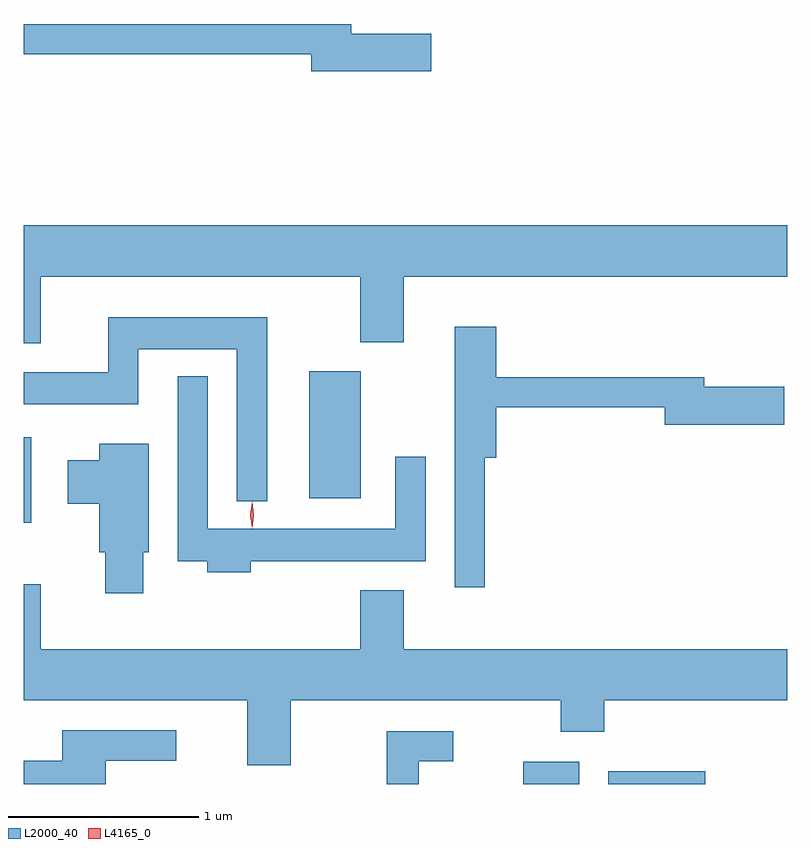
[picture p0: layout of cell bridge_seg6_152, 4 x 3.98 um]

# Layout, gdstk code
import gdstk
lib = gdstk.Library(unit=1e-6, precision=1e-09)
def R(c, l, rs):  # rectangles x0, y0, x1, y1
    for r in rs: c.add(gdstk.rectangle(r[:2], r[2:], *l))
def P(c, l, *ps):  # polygons
    for p in ps: c.add(gdstk.Polygon(p, *l))
L2000_40 = (2000, 40)
L4165_0 = (4165, 0)

bridge_seg6_152 = lib.new_cell('bridge_seg6_152')
R(bridge_seg6_152, L2000_40, [(1138.416,1565.138,1138.709,1565.254), (1138.861,1565.138,1139.368,1565.204), (1135.799,1566.506,1135.839,1566.954), (1137.296,1566.636,1137.564,1567.299)])
P(bridge_seg6_152, L2000_40, [(1137.934,1569.069),(1137.514,1569.069),(1137.514,1569.119),(1135.799,1569.119),(1135.799,1568.961),(1137.306,1568.961),(1137.306,1568.871),(1137.934,1568.871)],
  [(1135.889,1567.796),(1137.561,1567.796),(1137.561,1567.451),(1137.789,1567.451),(1137.789,1567.796),(1139.799,1567.796),(1139.799,1568.064),(1135.799,1568.064),(1135.799,1567.446),(1135.889,1567.446)],
  [(1137.074,1567.584),(1136.241,1567.584),(1136.241,1567.294),(1135.799,1567.294),(1135.799,1567.126),(1136.399,1567.126),(1136.399,1567.416),(1136.916,1567.416),(1136.916,1566.618),(1137.074,1566.618)],
  [(1138.214,1566.846),(1138.274,1566.846),(1138.274,1567.111),(1139.156,1567.111),(1139.156,1567.021),(1139.784,1567.021),(1139.784,1567.219),(1139.364,1567.219),(1139.364,1567.269),(1138.274,1567.269),(1138.274,1567.534),(1138.056,1567.534),(1138.056,1566.168),(1138.214,1566.168)],
  [(1136.989,1566.306),(1137.904,1566.306),(1137.904,1566.853),(1137.746,1566.853),(1137.746,1566.474),(1136.764,1566.474),(1136.764,1567.273),(1136.606,1567.273),(1136.606,1566.306),(1136.761,1566.306),(1136.761,1566.246),(1136.989,1566.246)],
  [(1136.424,1566.351),(1136.454,1566.351),(1136.454,1566.919),(1136.196,1566.919),(1136.196,1566.834),(1136.031,1566.834),(1136.031,1566.606),(1136.196,1566.606),(1136.196,1566.351),(1136.226,1566.351),(1136.226,1566.136),(1136.424,1566.136)],
  [(1137.199,1565.576),(1138.611,1565.576),(1138.611,1565.411),(1138.839,1565.411),(1138.839,1565.576),(1139.799,1565.576),(1139.799,1565.844),(1137.789,1565.844),(1137.789,1566.154),(1137.561,1566.154),(1137.561,1565.844),(1135.889,1565.844),(1135.889,1566.184),(1135.799,1566.184),(1135.799,1565.576),(1136.971,1565.576),(1136.971,1565.236),(1137.199,1565.236)],
  [(1136.229,1565.261),(1136.598,1565.261),(1136.598,1565.419),(1136.001,1565.419),(1136.001,1565.259),(1135.799,1565.259),(1135.799,1565.138),(1136.229,1565.138)],
  [(1137.869,1565.256),(1138.048,1565.256),(1138.048,1565.414),(1137.701,1565.414),(1137.701,1565.138),(1137.869,1565.138)])
P(bridge_seg6_152, L4165_0, [(1136.995,1566.48),(1136.995,1566.48),(1136.985,1566.546),(1136.995,1566.612),(1136.995,1566.613),(1136.996,1566.612),(1137.005,1566.546),(1136.996,1566.48)],
  [(1136.995,1566.477),(1136.995,1566.477),(1136.985,1566.547),(1136.995,1566.616),(1136.995,1566.616),(1136.996,1566.616),(1137.005,1566.547),(1136.996,1566.477)])

lib.write_gds('bridge_seg6_152.gds')
